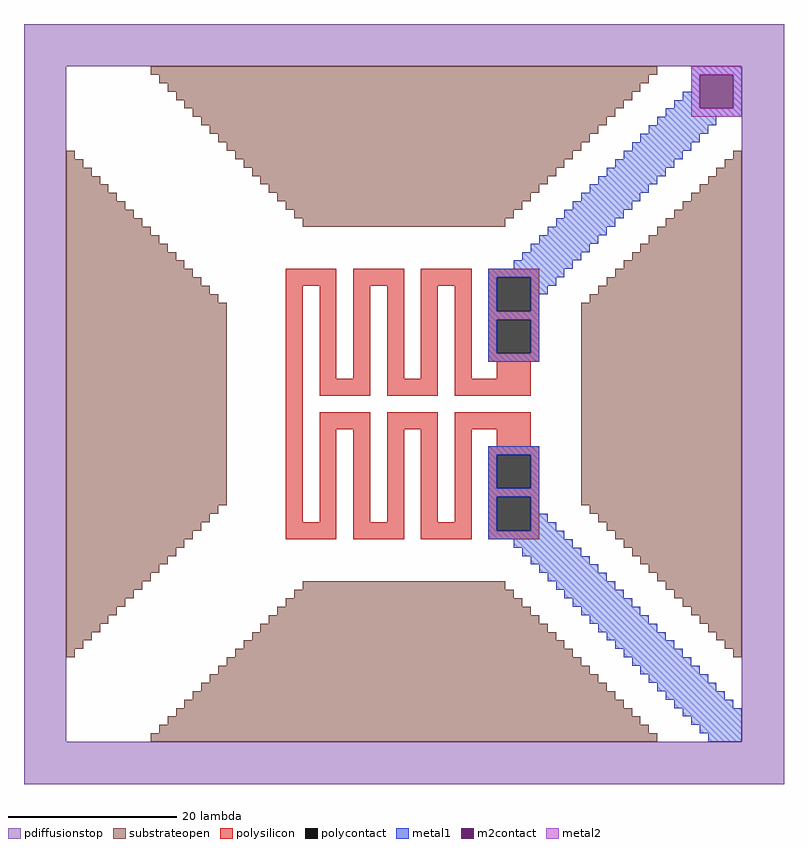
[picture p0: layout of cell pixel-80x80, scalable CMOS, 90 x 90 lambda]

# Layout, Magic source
magic
tech scmos
<< polysilicon >>
rect 528 56 534 58
rect 528 28 530 56
rect 532 45 534 56
rect 536 56 542 58
rect 536 45 538 56
rect 532 43 538 45
rect 540 45 542 56
rect 544 56 550 58
rect 544 45 546 56
rect 540 43 546 45
rect 548 45 550 56
rect 552 57 558 58
rect 552 53 553 57
rect 557 53 558 57
rect 552 52 558 53
rect 552 48 553 52
rect 557 48 558 52
rect 552 47 558 48
rect 553 45 557 47
rect 548 43 557 45
rect 532 39 538 41
rect 532 28 534 39
rect 528 26 534 28
rect 536 28 538 39
rect 540 39 546 41
rect 540 28 542 39
rect 536 26 542 28
rect 544 28 546 39
rect 548 39 557 41
rect 548 28 550 39
rect 553 37 557 39
rect 544 26 550 28
rect 552 36 558 37
rect 552 32 553 36
rect 557 32 558 36
rect 552 31 558 32
rect 552 27 553 31
rect 557 27 558 31
rect 552 26 558 27
<< metal1 >>
rect 576 81 582 82
rect 576 79 577 81
rect 575 78 577 79
rect 574 77 577 78
rect 581 77 582 81
rect 573 76 582 77
rect 572 75 579 76
rect 571 74 578 75
rect 570 73 577 74
rect 569 72 576 73
rect 568 71 575 72
rect 567 70 574 71
rect 566 69 573 70
rect 565 68 572 69
rect 564 67 571 68
rect 563 66 570 67
rect 562 65 569 66
rect 561 64 568 65
rect 560 63 567 64
rect 559 62 566 63
rect 558 61 565 62
rect 557 60 564 61
rect 556 59 563 60
rect 555 58 562 59
rect 552 57 561 58
rect 552 53 553 57
rect 557 56 560 57
rect 557 55 559 56
rect 557 53 558 55
rect 552 52 558 53
rect 552 48 553 52
rect 557 48 558 52
rect 552 47 558 48
rect 552 36 558 37
rect 552 32 553 36
rect 557 32 558 36
rect 552 31 558 32
rect 552 27 553 31
rect 557 29 558 31
rect 557 28 559 29
rect 557 27 560 28
rect 552 26 561 27
rect 555 25 562 26
rect 556 24 563 25
rect 557 23 564 24
rect 558 22 565 23
rect 559 21 566 22
rect 560 20 567 21
rect 561 19 568 20
rect 562 18 569 19
rect 563 17 570 18
rect 564 16 571 17
rect 565 15 572 16
rect 566 14 573 15
rect 567 13 574 14
rect 568 12 575 13
rect 569 11 576 12
rect 570 10 577 11
rect 571 9 578 10
rect 572 8 579 9
rect 573 7 580 8
rect 574 6 581 7
rect 575 5 582 6
rect 576 4 582 5
rect 577 3 582 4
rect 578 2 582 3
<< metal2 >>
rect 576 81 582 82
rect 576 77 577 81
rect 581 77 582 81
rect 576 76 582 77
<< polycontact >>
rect 553 53 557 57
rect 553 48 557 52
rect 553 32 557 36
rect 553 27 557 31
<< m2contact >>
rect 577 77 581 81
<< substrateopen >>
rect 512 81 572 82
rect 513 80 571 81
rect 514 79 570 80
rect 515 78 569 79
rect 516 77 568 78
rect 517 76 567 77
rect 518 75 566 76
rect 519 74 565 75
rect 520 73 564 74
rect 521 72 563 73
rect 502 71 503 72
rect 522 71 562 72
rect 581 71 582 72
rect 502 70 504 71
rect 523 70 561 71
rect 580 70 582 71
rect 502 69 505 70
rect 524 69 560 70
rect 579 69 582 70
rect 502 68 506 69
rect 525 68 559 69
rect 578 68 582 69
rect 502 67 507 68
rect 526 67 558 68
rect 577 67 582 68
rect 502 66 508 67
rect 527 66 557 67
rect 576 66 582 67
rect 502 65 509 66
rect 528 65 556 66
rect 575 65 582 66
rect 502 64 510 65
rect 529 64 555 65
rect 574 64 582 65
rect 502 63 511 64
rect 530 63 554 64
rect 573 63 582 64
rect 502 62 512 63
rect 572 62 582 63
rect 502 61 513 62
rect 571 61 582 62
rect 502 60 514 61
rect 570 60 582 61
rect 502 59 515 60
rect 569 59 582 60
rect 502 58 516 59
rect 568 58 582 59
rect 502 57 517 58
rect 567 57 582 58
rect 502 56 518 57
rect 566 56 582 57
rect 502 55 519 56
rect 565 55 582 56
rect 502 54 520 55
rect 564 54 582 55
rect 502 30 521 54
rect 563 30 582 54
rect 502 29 520 30
rect 564 29 582 30
rect 502 28 519 29
rect 565 28 582 29
rect 502 27 518 28
rect 566 27 582 28
rect 502 26 517 27
rect 567 26 582 27
rect 502 25 516 26
rect 568 25 582 26
rect 502 24 515 25
rect 569 24 582 25
rect 502 23 514 24
rect 570 23 582 24
rect 502 22 513 23
rect 571 22 582 23
rect 502 21 512 22
rect 572 21 582 22
rect 502 20 511 21
rect 530 20 554 21
rect 573 20 582 21
rect 502 19 510 20
rect 529 19 555 20
rect 574 19 582 20
rect 502 18 509 19
rect 528 18 556 19
rect 575 18 582 19
rect 502 17 508 18
rect 527 17 557 18
rect 576 17 582 18
rect 502 16 507 17
rect 526 16 558 17
rect 577 16 582 17
rect 502 15 506 16
rect 525 15 559 16
rect 578 15 582 16
rect 502 14 505 15
rect 524 14 560 15
rect 579 14 582 15
rect 502 13 504 14
rect 523 13 561 14
rect 580 13 582 14
rect 502 12 503 13
rect 522 12 562 13
rect 581 12 582 13
rect 521 11 563 12
rect 520 10 564 11
rect 519 9 565 10
rect 518 8 566 9
rect 517 7 567 8
rect 516 6 568 7
rect 515 5 569 6
rect 514 4 570 5
rect 513 3 571 4
rect 512 2 572 3
<< pdiffusionstop >>
rect 497 82 587 87
rect 497 2 502 82
rect 582 2 587 82
rect 497 -3 587 2
<< end >>
